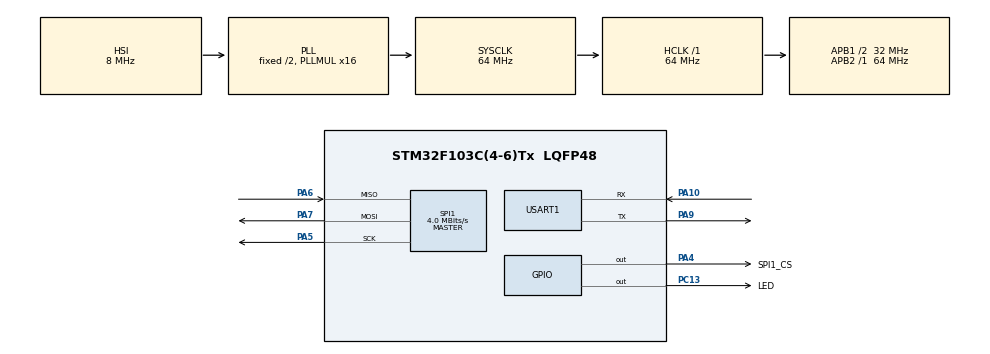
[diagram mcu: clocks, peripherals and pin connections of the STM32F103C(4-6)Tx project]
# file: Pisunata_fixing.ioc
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Mcu.Family=STM32F1
Mcu.Name=STM32F103C(4-6)Tx
Mcu.Package=LQFP48
NVIC.PriorityGroup=NVIC_PRIORITYGROUP_4
NVIC.USART1_IRQn=true\:0\:0\:false\:false\:true\:true\:true\:true
PA10.Mode=Asynchronous
PA10.Signal=USART1_RX
PA4.GPIO_Label=SPI1_CS
PA4.GPIO_Speed=GPIO_SPEED_FREQ_HIGH
PA4.PinState=GPIO_PIN_SET
PA4.Signal=GPIO_Output
PA5.Mode=Full_Duplex_Master
PA5.Signal=SPI1_SCK
PA6.Mode=Full_Duplex_Master
PA6.Signal=SPI1_MISO
PA7.Mode=Full_Duplex_Master
PA7.Signal=SPI1_MOSI
PA9.Mode=Asynchronous
PA9.Signal=USART1_TX
PC13-TAMPER-RTC.GPIO_Label=LED
PC13-TAMPER-RTC.Signal=GPIO_Output
ProjectManager.HeapSize=0x200
ProjectManager.StackSize=0x400
ProjectManager.TargetToolchain=STM32CubeIDE
RCC.AHBFreq_Value=64000000
RCC.APB1CLKDivider=RCC_HCLK_DIV2
RCC.APB1Freq_Value=32000000
RCC.APB1TimFreq_Value=64000000
RCC.APB2Freq_Value=64000000
RCC.APB2TimFreq_Value=64000000
RCC.HCLKFreq_Value=64000000
RCC.PLLMUL=RCC_PLL_MUL16
RCC.SYSCLKFreq_VALUE=64000000
RCC.SYSCLKSource=RCC_SYSCLKSOURCE_PLLCLK
RCC.USBFreq_Value=64000000
SPI1.BaudRatePrescaler=SPI_BAUDRATEPRESCALER_16
SPI1.CLKPhase=SPI_PHASE_2EDGE
SPI1.CLKPolarity=SPI_POLARITY_HIGH
SPI1.CalculateBaudRate=4.0 MBits/s
SPI1.Direction=SPI_DIRECTION_2LINES
SPI1.Mode=SPI_MODE_MASTER
SPI1.VirtualType=VM_MASTER
USART1.VirtualMode=VM_ASYNC
VP_SYS_VS_ND.Mode=No_Debug
board=custom

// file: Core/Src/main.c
/* USER CODE BEGIN Header */
/**
  ******************************************************************************
  * @file           : main.c
  * @brief          : Main program body
  ******************************************************************************
  * @attention
  *
  * Copyright (c) 2026 STMicroelectronics.
  * All rights reserved.
  *
  * This software is licensed under terms that can be found in the LICENSE file
  * in the root directory of this software component.
  * If no LICENSE file comes with this software, it is provided AS-IS.
  *
  ******************************************************************************
  */
/* USER CODE END Header */
#include "main.h"
#include "spi.h"
#include "usart.h"
#include "gpio.h"
#include <stdio.h>
#include <string.h>
#include "icm20948.h"
#include "madgwick.h"

/* USER CODE BEGIN PV */
char printf_buffer[256];
/* USER CODE END PV */

void SystemClock_Config(void);

/* USER CODE BEGIN 0 */
// Функция для перенаправления printf на UART
#ifdef __GNUC__
#define PUTCHAR_PROTOTYPE int __io_putchar(int ch)
#else
#define PUTCHAR_PROTOTYPE int fputc(int ch, FILE *f)
#endif

PUTCHAR_PROTOTYPE
{
    HAL_UART_Transmit(&huart1, (uint8_t*)&ch, 1, HAL_MAX_DELAY);
    return ch;
}

// Опционально: для scanf (если нужно чтение)
#ifdef __GNUC__
int __io_getchar(void)
{
    uint8_t ch;
    HAL_UART_Receive(&huart1, &ch, 1, HAL_MAX_DELAY);
    return ch;
}
#endif

void print_float(float val){
	int32_t int_part = 0;
	int32_t float_part = 0;
	int_part = (int32_t)val;
	float frac = val - (float)int_part;

	if(frac < 0){frac = -frac;}

	float_part = (int32_t)(frac * 10000.0f + 0.5f);

	if(float_part >= 10000){
		if (val >= 0){int_part++;}
		else {int_part--;}
		float_part = 0;
	}
	printf("%ld.%04ld\n", (long)int_part, (long)float_part);

}

void get_calib_data(){
	axis_scaled_t baby = {};
	uint16_t samples = 300;
	baby = accel_six_dof_calib(samples);
	printf("x axis average value: ");
	print_float(baby.x);
	printf("y axis average value: ");
	print_float(baby.y);
	printf("z axis average value: ");
	print_float(baby.z);

}

void init_fail_detector(init_status status){
	switch(status)
	{
	    case init_success:
	        printf("Init success\r\n");
	        break;

	    case who_am_i_fail:
	        printf("WHO_AM_I failed\r\n");
	        break;

	    case reset_fail:
	        printf("Reset failed\r\n");
	        break;

	    case wake_up_fail:
	        printf("Wake up failed\r\n");
	        break;

	    case clock_source_fail:
	        printf("Clock source config failed\r\n");
	        break;

	    case odr_fail:
	        printf("ODR align failed\r\n");
	        break;

	    case spi_slave_enable_fail:
	        printf("SPI slave enable failed\r\n");
	        break;

	    case gyro_srd_fail:
	        printf("Gyro sample rate divider failed\r\n");
	        break;

	    case gyro_fsf_fail:
	        printf("Gyro full scale config failed\r\n");
	        break;

	    case accel_fsf_fail:
	        printf("Accel full scale config failed\r\n");
	        break;

	    default:
	        printf("Unknown init error\r\n");
	        break;
	}

}
/* USER CODE END 0 */

int main(void)
{

  /* MCU Configuration--------------------------------------------------------*/

  /* Reset of all peripherals, Initializes the Flash interface and the Systick. */
  HAL_Init();

  /* Configure the system clock */
  SystemClock_Config();

  /* Initialize all configured peripherals */
  MX_GPIO_Init();
  MX_SPI1_Init();
  MX_USART1_UART_Init();
  /* USER CODE BEGIN 2 */
  HAL_GPIO_WritePin(spi_cs_port, spi_cs_pin, SET);
  if (who_am_i() == HAL_OK){printf("Im here!\r\n");}
  else {printf("Its so sad\r\n");}
  init_status init_st = icm20948_init(_500dps, _4g, 1);
  if (init_st != init_success){
	  printf("Init error\r\n");
  }
  else{
	  printf("Init success\r\n");
  }
  init_fail_detector(init_st);
  axis_raw_t accel = {};
  axis_raw_t gyro = {};
  axis_scaled_t scaled_accel = {};
  axis_scaled_t scaled_gyro = {};
  MadgwickFilter Filter = {};
  madgwick_init(&Filter, 0);
  /* USER CODE END 2 */

  /* Infinite loop */
  while (1)
  {
	  printf(".\r\n");
	  HAL_Delay(2);
	  icm20948_gyro_read(&gyro);
	  icm20948_accel_read(&accel);

	  madgwick_run(&Filter, &scaled_accel, &scaled_gyro);
	  /*printf("G[%6d %6d %6d]  A[%6d %6d %6d]\r\n",
	         gyro.x, gyro.y, gyro.z,
	         accel.x, accel.y, accel.z);*/

  }
}

void SystemClock_Config(void)
{
  RCC_OscInitTypeDef RCC_OscInitStruct = {0};
  RCC_ClkInitTypeDef RCC_ClkInitStruct = {0};

  /** Initializes the RCC Oscillators according to the specified parameters
  * in the RCC_OscInitTypeDef structure.
  */
  RCC_OscInitStruct.OscillatorType = RCC_OSCILLATORTYPE_HSI;
  RCC_OscInitStruct.HSIState = RCC_HSI_ON;
  RCC_OscInitStruct.HSICalibrationValue = RCC_HSICALIBRATION_DEFAULT;
  RCC_OscInitStruct.PLL.PLLState = RCC_PLL_ON;
  RCC_OscInitStruct.PLL.PLLSource = RCC_PLLSOURCE_HSI_DIV2;
  RCC_OscInitStruct.PLL.PLLMUL = RCC_PLL_MUL16;
  if (HAL_RCC_OscConfig(&RCC_OscInitStruct) != HAL_OK)
  {
    Error_Handler();
  }

  /** Initializes the CPU, AHB and APB buses clocks
  */
  RCC_ClkInitStruct.ClockType = RCC_CLOCKTYPE_HCLK|RCC_CLOCKTYPE_SYSCLK
                              |RCC_CLOCKTYPE_PCLK1|RCC_CLOCKTYPE_PCLK2;
  RCC_ClkInitStruct.SYSCLKSource = RCC_SYSCLKSOURCE_PLLCLK;
  RCC_ClkInitStruct.AHBCLKDivider = RCC_SYSCLK_DIV1;
  RCC_ClkInitStruct.APB1CLKDivider = RCC_HCLK_DIV2;
  RCC_ClkInitStruct.APB2CLKDivider = RCC_HCLK_DIV1;

  if (HAL_RCC_ClockConfig(&RCC_ClkInitStruct, FLASH_LATENCY_2) != HAL_OK)
  {
    Error_Handler();
  }
}

void Error_Handler(void)
{
  __disable_irq();
  while (1)
  {
  }
}
